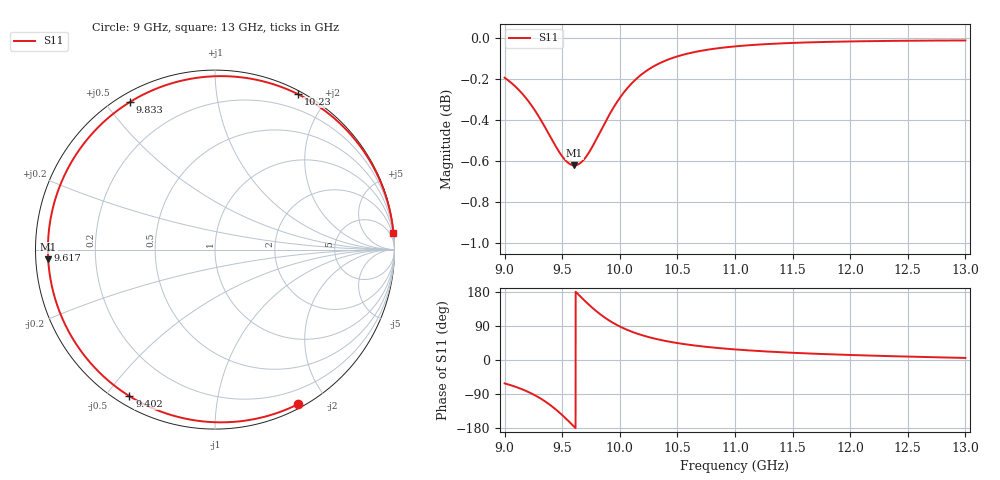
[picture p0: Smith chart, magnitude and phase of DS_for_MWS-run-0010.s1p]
! TOUCHSTONE file generated by CST DESIGN STUDIO
! Date and time: Tue Feb  4 12:49:09 2025
! Project name: C:\Work\MatlabApps\UnitCellOptimizationMatlab\CST\unitcell.cst
! Tree item: Tasks\Sweep1\SPara1\S-Parameters
! Header version: 2024
! Port assignment regex: !\s*Touchstone port\s*([0-9]+)\s*=\s*(CST MWS port|CST DES external port|CST DES block port)\s*(.+)\s* \(\"(.*)\"\)(\s*mode\s*([0-9]+))?.*
! Touchstone port assignment:
! Touchstone port 1 = CST DES external port 1 ("")
# GHz S MA R 50
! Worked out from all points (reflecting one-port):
!   4001 points, 9 GHz to 13 GHz, reference 50 ohm
!   lowest |S11| = -0.6 dB at 9.606 GHz (marker M1), VSWR 27.99, Z = 1.79 - j1.45 ohm
!   phase of S11 starts at -62 deg and turns -293 deg over the sweep
!   S11 on the Smith chart (normalised r, x): 9 GHz: 0.04, -1.67; 9.402 GHz: 0.04, -0.57; 9.617 GHz: 0.04, +0.00; 9.833 GHz: 0.03, +0.58; 10.23 GHz: 0.03, +1.66; 13 GHz: 0, +21
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9  0.9778 -61.7
9.053  0.9753 -66.5
9.125  0.971 -74.0
9.187  0.9666 -81.7
9.248  0.9615 -90.6
9.33  0.9534 -105.0
9.402  0.9455 -120.3
9.451  0.9403 -132.2
9.5  0.9357 -145.4
9.555  0.9322 -161.3
9.606  0.931 -176.7
9.617  0.9311 180.0
9.662  0.9325 166.3
9.709  0.9357 152.4
9.771  0.9418 135.3
9.833  0.949 120.0
9.91  0.9579 103.8
10  0.9668 88.5
10.111  0.9752 73.9
10.232  0.9816 62.0
10.356  0.9861 52.8
10.5  0.9896 44.7
10.72  0.9928 35.7
11  0.9951 27.9
11.5  0.9971 19.0
12  0.9979 13.2
12.5  0.9983 9.0
13  0.9984 5.4
